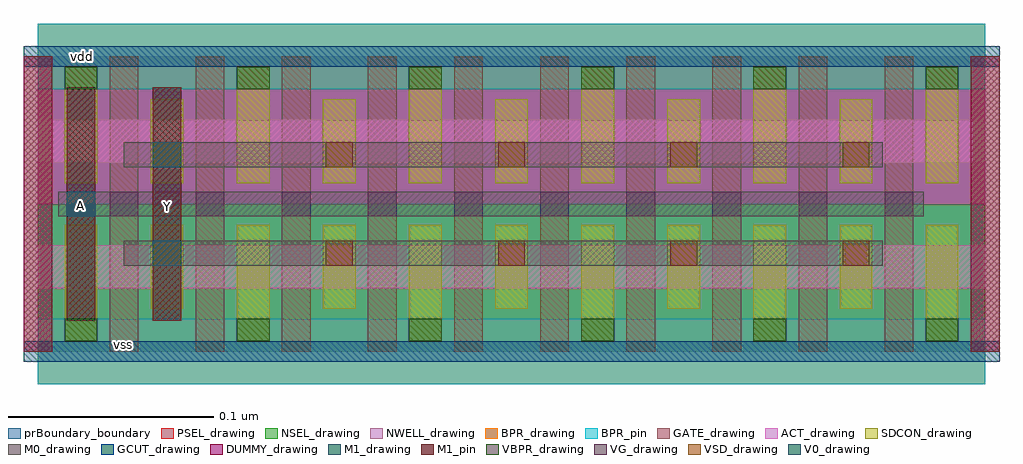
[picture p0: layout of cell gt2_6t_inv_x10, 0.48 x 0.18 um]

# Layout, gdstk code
import gdstk
lib = gdstk.Library(unit=1e-6, precision=5e-10)
def R(c, l, rs):  # rectangles x0, y0, x1, y1
    for r in rs: c.add(gdstk.rectangle(r[:2], r[2:], *l))
def A(c, l, x, y, w, h, nx, ny, dx, dy):  # array of equal rectangles
    R(c, l, [(x+i*dx, y+j*dy, x+i*dx+w, y+j*dy+h) for i in range(nx) for j in range(ny)])
NWELL_drawing = (1, 0)
ACT_drawing = (2, 0)
GATE_drawing = (3, 0)
DUMMY_drawing = (4, 0)
GCUT_drawing = (5, 0)
NSEL_drawing = (6, 0)
PSEL_drawing = (7, 0)
BPR_drawing = (8, 0)
BPR_pin = (8, 251)
VBPR_drawing = (9, 0)
SDCON_drawing = (10, 0)
VSD_drawing = (11, 0)
VG_drawing = (12, 0)
M0_drawing = (20, 0)
V0_drawing = (22, 0)
M1_drawing = (25, 0)
M1_pin = (25, 251)
prBoundary_boundary = (235, 250)

gt2_6t_inv_x10 = lib.new_cell('gt2_6t_inv_x10')
R(gt2_6t_inv_x10, NWELL_drawing, [(0,0.072,0.462,0.144)])
R(gt2_6t_inv_x10, ACT_drawing, [(0,0.031,0.462,0.052), (0,0.092,0.462,0.113)])
A(gt2_6t_inv_x10, GATE_drawing, -0.007, 0, 0.014, 0.144, 12, 1, 0.042, 0)
R(gt2_6t_inv_x10, DUMMY_drawing, [(-0.007,0,0.007,0.144), (0.455,0,0.469,0.144)])
R(gt2_6t_inv_x10, GCUT_drawing, [(-0.007,-0.005,0.469,0.005), (-0.007,0.139,0.469,0.149)])
R(gt2_6t_inv_x10, NSEL_drawing, [(0,0,0.462,0.072)])
R(gt2_6t_inv_x10, PSEL_drawing, [(0,0.072,0.462,0.144)])
R(gt2_6t_inv_x10, BPR_drawing, [(0,-0.016,0.462,0.016), (0,0.128,0.462,0.16)])
R(gt2_6t_inv_x10, BPR_pin, [(0,-0.016,0.462,0.016), (0,0.128,0.462,0.16)])
A(gt2_6t_inv_x10, VBPR_drawing, 0.013, 0.005, 0.016, 0.011, 6, 2, 0.084, 0.123)
A(gt2_6t_inv_x10, SDCON_drawing, 0.013, 0.005, 0.016, 0.057, 6, 2, 0.084, 0.077)
A(gt2_6t_inv_x10, SDCON_drawing, 0.055, 0.021, 0.016, 0.041, 5, 2, 0.084, 0.061)
A(gt2_6t_inv_x10, VSD_drawing, 0.0565, 0.042, 0.013, 0.012, 5, 2, 0.084, 0.048)
A(gt2_6t_inv_x10, VG_drawing, 0.035, 0.066, 0.014, 0.012, 10, 1, 0.042, 0)
R(gt2_6t_inv_x10, M0_drawing, [(0.042,0.042,0.412,0.054), (0.01,0.066,0.432,0.078), (0.042,0.09,0.412,0.102)])
R(gt2_6t_inv_x10, V0_drawing, [(0.056,0.042,0.07,0.054), (0.014,0.066,0.028,0.078), (0.056,0.09,0.07,0.102)])
R(gt2_6t_inv_x10, M1_drawing, [(0.014,0.015,0.028,0.129), (0.056,0.015,0.07,0.129)])
R(gt2_6t_inv_x10, M1_pin, [(0.014,0.015,0.028,0.129), (0.056,0.015,0.07,0.129)])
R(gt2_6t_inv_x10, prBoundary_boundary, [(0,0,0.462,0.144)])
gt2_6t_inv_x10.add(gdstk.Label('Y', (0.063,0.071), layer=25, texttype=251))
gt2_6t_inv_x10.add(gdstk.Label('A', (0.021,0.0715), layer=25, texttype=251))
gt2_6t_inv_x10.add(gdstk.Label('vss', (0.042,0.0035), layer=8, texttype=251))
gt2_6t_inv_x10.add(gdstk.Label('vdd', (0.022,0.144), layer=8, texttype=251))

lib.write_gds('gt2_6t_inv_x10.gds')
